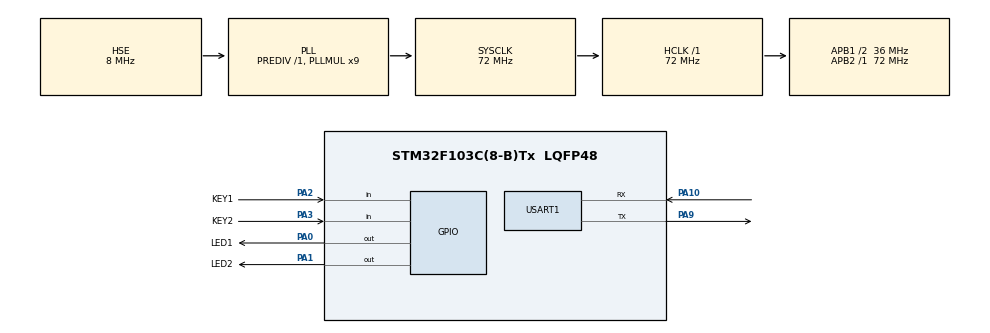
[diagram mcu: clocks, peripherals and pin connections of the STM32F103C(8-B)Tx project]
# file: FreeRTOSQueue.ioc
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Dma.Request0=USART1_RX
Dma.Request1=USART1_TX
Dma.USART1_RX.0.Direction=DMA_PERIPH_TO_MEMORY
Dma.USART1_RX.0.Instance=DMA1_Channel5
Dma.USART1_RX.0.MemDataAlignment=DMA_MDATAALIGN_BYTE
Dma.USART1_RX.0.MemInc=DMA_MINC_ENABLE
Dma.USART1_RX.0.Mode=DMA_NORMAL
Dma.USART1_RX.0.PeriphDataAlignment=DMA_PDATAALIGN_BYTE
Dma.USART1_RX.0.PeriphInc=DMA_PINC_DISABLE
Dma.USART1_RX.0.Priority=DMA_PRIORITY_LOW
Dma.USART1_TX.1.Direction=DMA_MEMORY_TO_PERIPH
Dma.USART1_TX.1.Instance=DMA1_Channel4
Dma.USART1_TX.1.MemDataAlignment=DMA_MDATAALIGN_BYTE
Dma.USART1_TX.1.MemInc=DMA_MINC_ENABLE
Dma.USART1_TX.1.Mode=DMA_NORMAL
Dma.USART1_TX.1.PeriphDataAlignment=DMA_PDATAALIGN_BYTE
Dma.USART1_TX.1.PeriphInc=DMA_PINC_DISABLE
Dma.USART1_TX.1.Priority=DMA_PRIORITY_LOW
FREERTOS.Mutexes01=UARTMutex,Dynamic,NULL,Available
FREERTOS.Queues01=LED1Queue,16,uint16_t,0,Dynamic,NULL,NULL;LED2Queue,16,uint16_t,0,Dynamic,NULL,NULL
FREERTOS.Tasks01=defaultTask,0,128,StartDefaultTask,Default,NULL,Dynamic,NULL,NULL;LED1,0,128,myTask01,Default,NULL,Dynamic,NULL,NULL;LED2,0,128,myTask02,Default,NULL,Dynamic,NULL,NULL;KeyScan,1,128,KeyScanfTask,Default,NULL,Dynamic,NULL,NULL
Mcu.Family=STM32F1
Mcu.Name=STM32F103C(8-B)Tx
Mcu.Package=LQFP48
NVIC.DMA1_Channel4_IRQn=true\:5\:0\:false\:false\:true\:true\:false\:true\:true
NVIC.DMA1_Channel5_IRQn=true\:5\:0\:false\:false\:true\:true\:false\:true\:true
NVIC.PriorityGroup=NVIC_PRIORITYGROUP_4
NVIC.TIM4_IRQn=true\:15\:0\:false\:false\:true\:false\:false\:true\:true
NVIC.TimeBase=TIM4_IRQn
NVIC.TimeBaseIP=TIM4
NVIC.USART1_IRQn=true\:5\:0\:false\:false\:true\:true\:true\:true\:true
PA0-WKUP.GPIO_Label=LED1
PA0-WKUP.GPIO_ModeDefaultOutputPP=GPIO_MODE_OUTPUT_PP
PA0-WKUP.GPIO_PuPd=GPIO_PULLUP
PA0-WKUP.Signal=GPIO_Output
PA1.GPIO_Label=LED2
PA1.GPIO_ModeDefaultOutputPP=GPIO_MODE_OUTPUT_PP
PA1.GPIO_PuPd=GPIO_PULLUP
PA1.Signal=GPIO_Output
PA10.Mode=Asynchronous
PA10.Signal=USART1_RX
PA13.Mode=Serial_Wire
PA13.Signal=SYS_JTMS-SWDIO
PA14.Mode=Serial_Wire
PA14.Signal=SYS_JTCK-SWCLK
PA2.GPIO_Label=KEY1
PA2.GPIO_PuPd=GPIO_PULLUP
PA2.Signal=GPIO_Input
PA3.GPIO_Label=KEY2
PA3.GPIO_PuPd=GPIO_PULLUP
PA3.Signal=GPIO_Input
PA9.Mode=Asynchronous
PA9.Signal=USART1_TX
PD0-OSC_IN.Mode=HSE-External-Oscillator
PD0-OSC_IN.Signal=RCC_OSC_IN
PD1-OSC_OUT.Mode=HSE-External-Oscillator
PD1-OSC_OUT.Signal=RCC_OSC_OUT
ProjectManager.HeapSize=0x200
ProjectManager.StackSize=0x400
ProjectManager.TargetToolchain=CMake
RCC.AHBFreq_Value=72000000
RCC.APB1CLKDivider=RCC_HCLK_DIV2
RCC.APB1Freq_Value=36000000
RCC.APB1TimFreq_Value=72000000
RCC.APB2Freq_Value=72000000
RCC.APB2TimFreq_Value=72000000
RCC.HCLKFreq_Value=72000000
RCC.PLLMUL=RCC_PLL_MUL9
RCC.PLLSourceVirtual=RCC_PLLSOURCE_HSE
RCC.SYSCLKFreq_VALUE=72000000
RCC.SYSCLKSource=RCC_SYSCLKSOURCE_PLLCLK
RCC.USBFreq_Value=72000000
USART1.VirtualMode=VM_ASYNC
VP_FREERTOS_VS_CMSIS_V1.Mode=CMSIS_V1
VP_SYS_VS_tim4.Mode=TIM4
board=custom

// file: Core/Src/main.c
/* USER CODE BEGIN Header */
/**
  ******************************************************************************
  * @file           : main.c
  * @brief          : Main program body
  ******************************************************************************
  * @attention
  *
  * Copyright (c) 2026 STMicroelectronics.
  * All rights reserved.
  *
  * This software is licensed under terms that can be found in the LICENSE file
  * in the root directory of this software component.
  * If no LICENSE file comes with this software, it is provided AS-IS.
  *
  ******************************************************************************
  */
/* USER CODE END Header */
#include "main.h"
#include "cmsis_os.h"
#include "dma.h"
#include "usart.h"
#include "gpio.h"

void SystemClock_Config(void);
void MX_FREERTOS_Init(void);

int main(void)
{

  /* MCU Configuration--------------------------------------------------------*/

  /* Reset of all peripherals, Initializes the Flash interface and the Systick. */
  HAL_Init();

  /* Configure the system clock */
  SystemClock_Config();

  /* Initialize all configured peripherals */
  MX_GPIO_Init();
  MX_DMA_Init();
  MX_USART1_UART_Init();

  /* Call init function for freertos objects (in cmsis_os2.c) */
  MX_FREERTOS_Init();

  /* Start scheduler */
  osKernelStart();

  /* We should never get here as control is now taken by the scheduler */

  /* Infinite loop */
  while (1)
  {

  }
}

void SystemClock_Config(void)
{
  RCC_OscInitTypeDef RCC_OscInitStruct = {0};
  RCC_ClkInitTypeDef RCC_ClkInitStruct = {0};

  /** Initializes the RCC Oscillators according to the specified parameters
  * in the RCC_OscInitTypeDef structure.
  */
  RCC_OscInitStruct.OscillatorType = RCC_OSCILLATORTYPE_HSE;
  RCC_OscInitStruct.HSEState = RCC_HSE_ON;
  RCC_OscInitStruct.HSEPredivValue = RCC_HSE_PREDIV_DIV1;
  RCC_OscInitStruct.HSIState = RCC_HSI_ON;
  RCC_OscInitStruct.PLL.PLLState = RCC_PLL_ON;
  RCC_OscInitStruct.PLL.PLLSource = RCC_PLLSOURCE_HSE;
  RCC_OscInitStruct.PLL.PLLMUL = RCC_PLL_MUL9;
  if (HAL_RCC_OscConfig(&RCC_OscInitStruct) != HAL_OK)
  {
    Error_Handler();
  }

  /** Initializes the CPU, AHB and APB buses clocks
  */
  RCC_ClkInitStruct.ClockType = RCC_CLOCKTYPE_HCLK|RCC_CLOCKTYPE_SYSCLK
                              |RCC_CLOCKTYPE_PCLK1|RCC_CLOCKTYPE_PCLK2;
  RCC_ClkInitStruct.SYSCLKSource = RCC_SYSCLKSOURCE_PLLCLK;
  RCC_ClkInitStruct.AHBCLKDivider = RCC_SYSCLK_DIV1;
  RCC_ClkInitStruct.APB1CLKDivider = RCC_HCLK_DIV2;
  RCC_ClkInitStruct.APB2CLKDivider = RCC_HCLK_DIV1;

  if (HAL_RCC_ClockConfig(&RCC_ClkInitStruct, FLASH_LATENCY_2) != HAL_OK)
  {
    Error_Handler();
  }
}

void HAL_TIM_PeriodElapsedCallback(TIM_HandleTypeDef *htim)
{
  if (htim->Instance == TIM4)
  {
    HAL_IncTick();
  }
}

void Error_Handler(void)
{
  __disable_irq();
  while (1)
  {
  }
}

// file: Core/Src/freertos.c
/* USER CODE BEGIN Header */
/**
  ******************************************************************************
  * File Name          : freertos.c
  * Description        : Code for freertos applications
  ******************************************************************************
  * @attention
  *
  * Copyright (c) 2026 STMicroelectronics.
  * All rights reserved.
  *
  * This software is licensed under terms that can be found in the LICENSE file
  * in the root directory of this software component.
  * If no LICENSE file comes with this software, it is provided AS-IS.
  *
  ******************************************************************************
  */
/* USER CODE END Header */

#include "FreeRTOS.h"
#include "task.h"
#include "main.h"
#include "cmsis_os.h"

/* USER CODE BEGIN Includes */
#include "LED_Control.h"
#include "Key_Status_Machine.h"
#include "UART_DMA.h"
/* USER CODE END Includes */

osThreadId defaultTaskHandle;
osThreadId LED1Handle;
osThreadId LED2Handle;
osThreadId KeyScanHandle;
osThreadId EchoTaskHandle;
osMessageQId LED1QueueHandle;
osMessageQId LED2QueueHandle;
osMutexId UARTMutexHandle;

void StartDefaultTask(void const *argument);

void myTask01(void const *argument);

void myTask02(void const *argument);

void KeyScanfTask(void const *argument);

void EchoTask(void const *argument);

void MX_FREERTOS_Init(void); /* (MISRA C 2004 rule 8.1) */

/* GetIdleTaskMemory prototype (linked to static allocation support) */
void vApplicationGetIdleTaskMemory(StaticTask_t **ppxIdleTaskTCBBuffer, StackType_t **ppxIdleTaskStackBuffer,
                                   uint32_t *pulIdleTaskStackSize);

/* USER CODE BEGIN GET_IDLE_TASK_MEMORY */
static StaticTask_t xIdleTaskTCBBuffer;
static StackType_t xIdleStack[configMINIMAL_STACK_SIZE];

void vApplicationGetIdleTaskMemory(StaticTask_t **ppxIdleTaskTCBBuffer, StackType_t **ppxIdleTaskStackBuffer,
                                   uint32_t *pulIdleTaskStackSize) {
  *ppxIdleTaskTCBBuffer = &xIdleTaskTCBBuffer;
  *ppxIdleTaskStackBuffer = &xIdleStack[0];
  *pulIdleTaskStackSize = configMINIMAL_STACK_SIZE;
  /* place for user code */
}

/* USER CODE END GET_IDLE_TASK_MEMORY */

void MX_FREERTOS_Init(void) {
  /* Create the mutex(es) */
  /* definition and creation of UARTMutex */
  osMutexDef(UARTMutex);
  UARTMutexHandle = osMutexCreate(osMutex(UARTMutex));

  /* Create the queue(s) */
  /* definition and creation of LED1Queue */
  osMessageQDef(LED1Queue, 16, uint16_t);
  LED1QueueHandle = osMessageCreate(osMessageQ(LED1Queue), NULL);

  /* definition and creation of LED2Queue */
  osMessageQDef(LED2Queue, 16, uint16_t);
  LED2QueueHandle = osMessageCreate(osMessageQ(LED2Queue), NULL);

  /* Create the thread(s) */
  /* definition and creation of defaultTask */
  osThreadDef(defaultTask, StartDefaultTask, osPriorityNormal, 0, 128);
  defaultTaskHandle = osThreadCreate(osThread(defaultTask), NULL);

  /* definition and creation of LED1 */
  osThreadDef(LED1, myTask01, osPriorityNormal, 0, 128);
  LED1Handle = osThreadCreate(osThread(LED1), NULL);

  /* definition and creation of LED2 */
  osThreadDef(LED2, myTask02, osPriorityNormal, 0, 128);
  LED2Handle = osThreadCreate(osThread(LED2), NULL);

  /* definition and creation of KeyScan */
  osThreadDef(KeyScan, KeyScanfTask, osPriorityAboveNormal, 0, 128);
  KeyScanHandle = osThreadCreate(osThread(KeyScan), NULL);

  /* USER CODE BEGIN RTOS_THREADS */
  /* definition and creation of EchoTask */
  osThreadDef(Echo, EchoTask, osPriorityNormal, 0, 256);
  EchoTaskHandle = osThreadCreate(osThread(Echo), NULL);
  /* USER CODE END RTOS_THREADS */
}

void StartDefaultTask(void const *argument) {
  for (;;) {
    osDelay(1);
  }
}

void myTask01(void const *argument) {
  /* USER CODE BEGIN myTask01 */
  osEvent evt;
  for (;;) {
    evt = osMessageGet(LED1QueueHandle, osWaitForever);
    if (evt.status == osEventMessage) {
      if (evt.value.v == 1) {
        // 单击：toggle 一次
        LED_Control(LED1_GPIO_Port, LED1_Pin, LED_TOGGLE);
        UART_SendWithMutex("[LED1] Single click, LED1 toggled\r\n");
      } else if (evt.value.v == 2) {
        // 双击：闪烁 3 次
        UART_SendWithMutex("[LED1] Double click, LED1 blink x3\r\n");
        for (int i = 0; i < 3; i++) {
          LED_Control(LED1_GPIO_Port, LED1_Pin, LED_TOGGLE);
          osDelay(150);
          LED_Control(LED1_GPIO_Port, LED1_Pin, LED_TOGGLE);
          osDelay(150);
        }
      }
    }
  }
  /* USER CODE END myTask01 */
}

void myTask02(void const *argument) {
  /* USER CODE BEGIN myTask02 */
  osEvent evt;
  for (;;) {
    evt = osMessageGet(LED2QueueHandle, osWaitForever);
    if (evt.status == osEventMessage) {
      if (evt.value.v == 1) {
        // 单击：toggle 一次
        LED_Control(LED2_GPIO_Port, LED2_Pin, LED_TOGGLE);
        UART_SendWithMutex("[LED2] Single click, LED2 toggled\r\n");
      } else if (evt.value.v == 2) {
        // 双击：闪烁 3 次
        UART_SendWithMutex("[LED2] Double click, LED2 blink x3\r\n");
        for (int i = 0; i < 3; i++) {
          LED_Control(LED2_GPIO_Port, LED2_Pin, LED_TOGGLE);
          osDelay(150);
          LED_Control(LED2_GPIO_Port, LED2_Pin, LED_TOGGLE);
          osDelay(150);
        }
      }
    }
  }

/* USER CODE END myTask02 */
}

void KeyScanfTask(void const *argument) {
  /* USER CODE BEGIN KeyScanfTask */
  Key_Init();
  /* Infinite loop */
  for (;;) {
    for (int i = 0; i < BUTTON_SIZE; i++) {
      Key_Scan(&button_t[i]);
    }

    if (button_t[0].ButtonEvent == KEY_PRESS_SINGLE) {
      button_t[0].ButtonEvent = KEY_NULL_EVENT;
      osMessagePut(LED1QueueHandle, 1, 0);
    } else if (button_t[0].ButtonEvent == KEY_PRESS_DOUBLE) {
      button_t[0].ButtonEvent = KEY_NULL_EVENT;
      osMessagePut(LED1QueueHandle, 2, 0);
    }

    if (button_t[1].ButtonEvent == KEY_PRESS_SINGLE) {
      button_t[1].ButtonEvent = KEY_NULL_EVENT;
      osMessagePut(LED2QueueHandle, 1, 0);
    } else if (button_t[1].ButtonEvent == KEY_PRESS_DOUBLE) {
      button_t[1].ButtonEvent = KEY_NULL_EVENT;
      osMessagePut(LED2QueueHandle, 2, 0);
    }

    osDelay(5);
  }
  /* USER CODE END KeyScanfTask */
}

/* USER CODE BEGIN Application */
void EchoTask(void const *argument) {
  uint32_t rxSize;
  UART_StartReceive(); // 开启第一次 DMA 接收

  for (;;) {
    // 阻塞等待中断回调发来的 Task Notification（值为接收到的字节数）
    if (xTaskNotifyWait(0, 0xFFFFFFFF, &rxSize, osWaitForever) == pdTRUE) {
      // 回显收到的数据
      if (osMutexWait(UARTMutexHandle, 1000) == osOK) {
        HAL_UART_Transmit_DMA(&huart1, uart_rx_buf, (uint16_t) rxSize);
        while (HAL_UART_GetState(&huart1) == HAL_UART_STATE_BUSY_TX ||
               HAL_UART_GetState(&huart1) == HAL_UART_STATE_BUSY_TX_RX) {
          osDelay(1);
        }
        osMutexRelease(UARTMutexHandle);
      }
      // 重新开启下一次接收
      UART_StartReceive();
    }
  }
}

/* USER CODE END Application */
